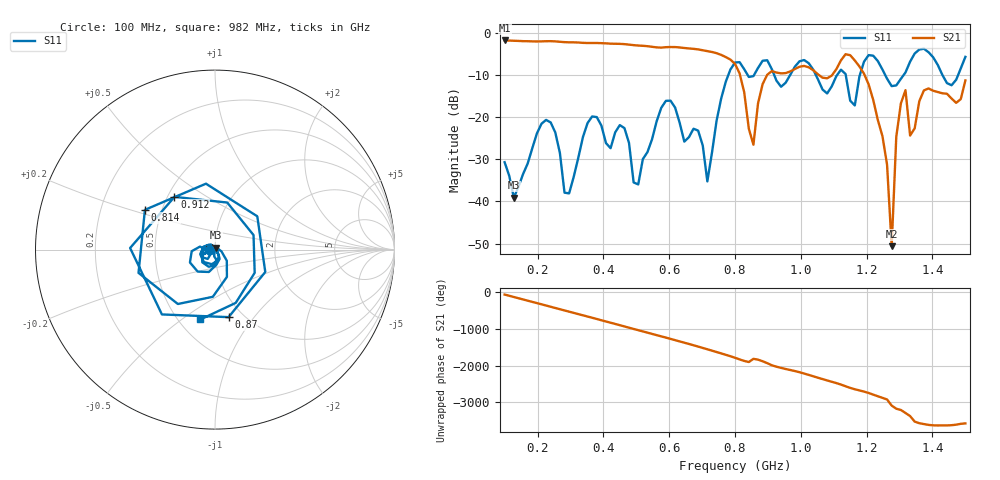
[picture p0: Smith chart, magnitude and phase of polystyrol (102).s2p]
! NanoVNA-App
! Date: 2025-09-25 15:30:41
! Start: 100MHz Stop: 1,5GHz Points: 101
! S-Parameter data: F S11 S21 S12 S22
# Hz S RI R 50
!  Frequency  S11_Real  S11_Imag  S21_Real  S21_Imag  S12_Real  S12_Imag  S22_Real  S22_Imag
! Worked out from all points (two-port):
!   101 points, 100 MHz to 1.5 GHz, reference 50 ohm
!   highest |S21| = -1.80 dB at 100 MHz (marker M1); lowest = -50.6 dB at 1.276 GHz (marker M2)
!   |S21| within 3 dB of the highest: start of sweep to 742.9 MHz
!   lowest |S11| = -39.1 dB at 128 MHz (marker M3), VSWR 1.02, Z = 50.3 + j1.06 ohm
!   |S11| at or under -10 dB: start of sweep to 779.7 MHz; 1.046 GHz to 1.11 GHz (64.67 MHz wide, 6 % of centre); 1.256 GHz to 1.312 GHz (56.08 MHz wide, 4.37 % of centre) (the widest 3 of 7)
!   S12 and S22 are empty: the file has one direction only
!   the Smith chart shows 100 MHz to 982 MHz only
!   S11 on the Smith chart (normalised r, x): 100 MHz: 0.94, -0.01; 814 MHz: 0.40, +0.22; 870 MHz: 0.86, -0.76; 912 MHz: 0.54, +0.37; 982 MHz: 0.64, -0.59
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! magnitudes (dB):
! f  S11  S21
! 100 MHz  -30.7  -1.8
! 128 MHz  -39.1  -1.9
! 212 MHz  -21.6  -2.0
! 282 MHz  -37.9  -2.2
! 338 MHz  -24.7  -2.4
! 506 MHz  -36.0  -3.0
! 576 MHz  -17.8  -3.5
! 716 MHz  -35.3  -4.3
! 800 MHz  -7.0  -7.4
! 814 MHz  -7.0  -9.6
! 856 MHz  -10.3  -26.5
! 870 MHz  -8.3  -16.7
! 912 MHz  -8.6  -9.1
! 982 MHz  -8.0  -8.6
! 1.038 GHz  -8.8  -8.9
! 1.192 GHz  -6.8  -9.7
! 1.262 GHz  -10.9  -31.3
! 1.276 GHz  -12.6  -50.6
! 1.29 GHz  -12.5  -24.7
! 1.318 GHz  -9.4  -13.6
! 1.332 GHz  -6.8  -24.4
! 1.5 GHz  -5.7  -11.3
